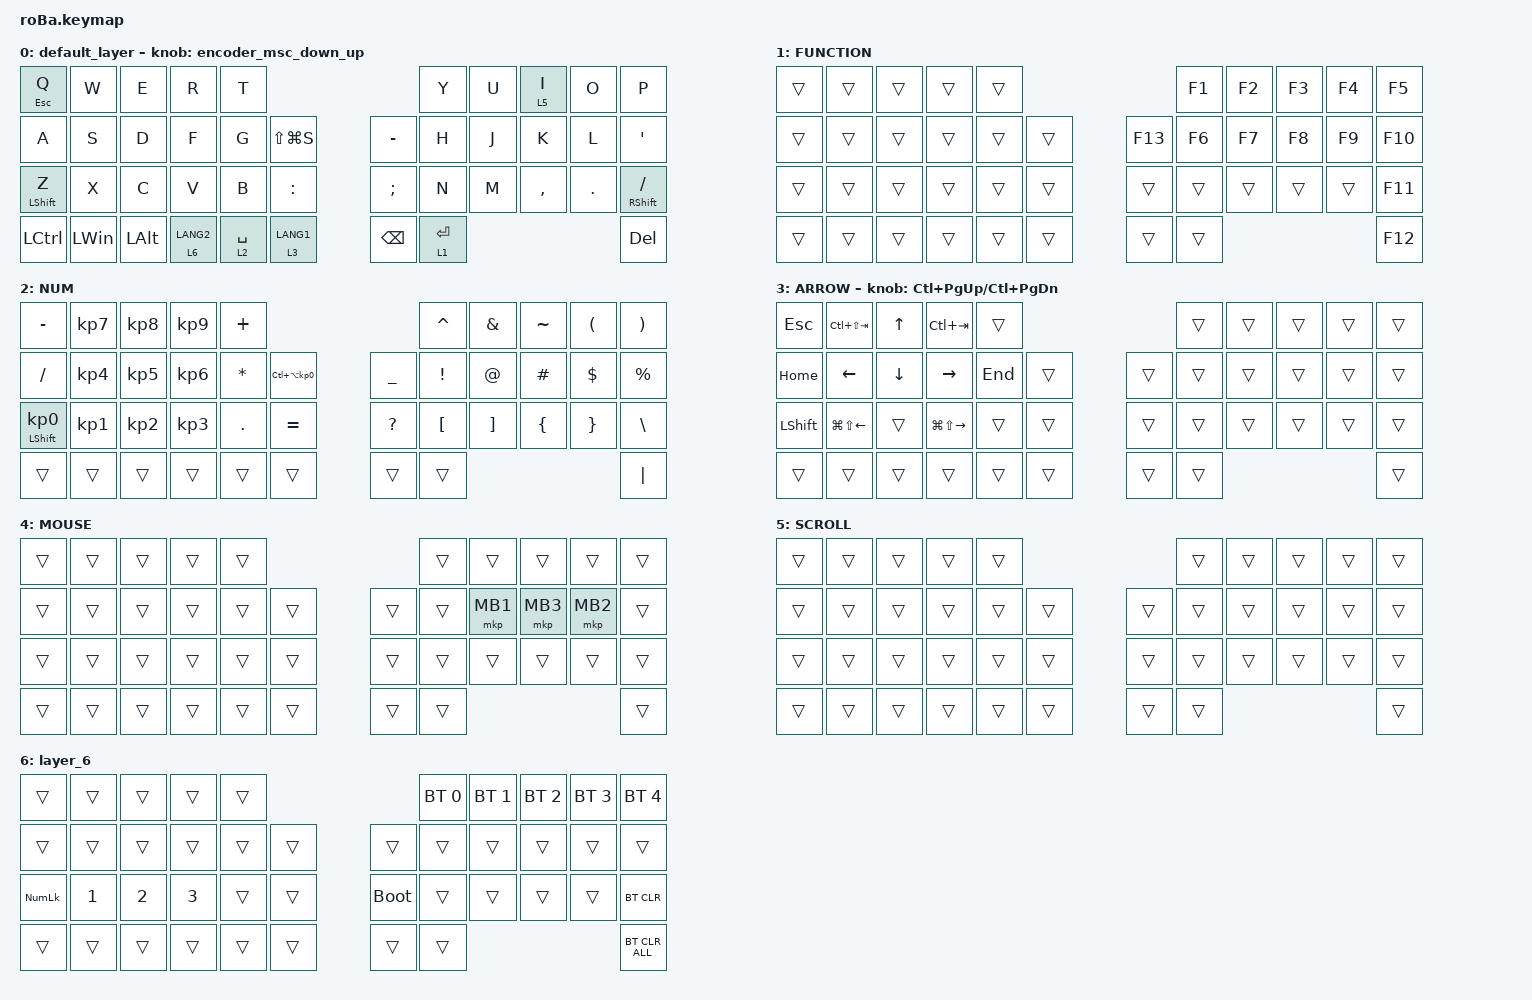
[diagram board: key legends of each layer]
#define ZMK_POINTING_DEFAULT_SCRL_VAL 80

#include <input/processors.dtsi>
#include <input/processors/runtime-input-processor.dtsi>
#include <dt-bindings/zmk/input_transform.h>
#include <behaviors.dtsi>
#include <dt-bindings/zmk/bt.h>
#include <dt-bindings/zmk/keys.h>
#include <dt-bindings/zmk/pointing.h>

&mt {
    flavor = "balanced";
    quick-tap-ms = <0>;
};

&mouse_runtime_input_processor {
    temp-layer-enabled;
    temp-layer = <4>;
    temp-layer-activation-delay-ms = <0>;
    temp-layer-deactivation-delay-ms = <700>;
};

&trackball_listener {
    input-processors = <&mouse_runtime_input_processor>;

    scroll_layer {
        layers = <5>;
        input-processors =
            <&zip_xy_to_scroll_mapper &scroll_runtime_input_processor>,
            <&zip_scroll_transform INPUT_TRANSFORM_X_INVERT>;
    };
};

/ {
    combos {
        compatible = "zmk,combos";

        tab {
            bindings = <&kp TAB>;
            key-positions = <11 12>;
        };

        shift_tab {
            bindings = <&kp LS(TAB)>;
            key-positions = <12 13>;
        };

        double_quotation {
            bindings = <&kp DOUBLE_QUOTES>;
            key-positions = <20 21>;
        };

        eq {
            bindings = <&kp EQUAL>;
            key-positions = <24 25>;
        };
    };

    macros {
        to_layer_0: to_layer_0 {
            compatible = "zmk,behavior-macro-one-param";
            #binding-cells = <1>;
            bindings = <&to 0 &macro_param_1to1 &kp MACRO_PLACEHOLDER>;
            label = "TO_LAYER_0";
        };
    };

    behaviors {
        lt_to_layer_0: lt_to_layer_0 {
            compatible = "zmk,behavior-hold-tap";
            label = "LAYER_TAP_TO_0";
            bindings = <&mo>, <&to_layer_0>;

            #binding-cells = <2>;
            tapping-term-ms = <200>;
        };

        encoder_msc_down_up: encoder_msc_down_up {
            compatible = "zmk,behavior-sensor-rotate";
            #sensor-binding-cells = <0>;
            bindings = <&msc SCRL_DOWN>, <&msc SCRL_UP>;

            tap-ms = <20>;
        };
    };

    keymap {
        compatible = "zmk,keymap";

        default_layer {
            bindings = <
&mt ESCAPE Q      &kp W         &kp E         &kp R                   &kp T                                                   &kp Y        &kp U  &lt 5 I    &kp O    &kp P
&kp A             &kp S         &kp D         &kp F                   &kp G        &kp LS(LG(S))               &kp MINUS      &kp H        &kp J  &kp K      &kp L    &kp SQT
&mt LEFT_SHIFT Z  &kp X         &kp C         &kp V                   &kp B        &kp COLON                   &kp SEMICOLON  &kp N        &kp M  &kp COMMA  &kp DOT  &mt RIGHT_SHIFT SLASH
&kp LCTRL         &kp LEFT_WIN  &kp LEFT_ALT  &lt_to_layer_0 6 LANG2  &lt 2 SPACE  &lt_to_layer_0 3 LANG1      &kp BACKSPACE  &lt 1 ENTER                             &kp DEL
            >;

            sensor-bindings = <&encoder_msc_down_up>;
        };

        FUNCTION {
            bindings = <
&trans  &trans  &trans  &trans  &trans                       &kp F1  &kp F2  &kp F3  &kp F4  &kp F5
&trans  &trans  &trans  &trans  &trans  &trans      &kp F13  &kp F6  &kp F7  &kp F8  &kp F9  &kp F10
&trans  &trans  &trans  &trans  &trans  &trans      &trans   &trans  &trans  &trans  &trans  &kp F11
&trans  &trans  &trans  &trans  &trans  &trans      &trans   &trans                          &kp F12
            >;
        };

        NUM {
            bindings = <
&kp MINUS                   &kp KP_NUMBER_7  &kp KP_NUMBER_8  &kp KP_NUMBER_9  &kp PLUS                                                   &kp CARET         &kp AMPERSAND      &kp TILDE       &kp LEFT_PARENTHESIS  &kp RIGHT_PARENTHESIS
&kp SLASH                   &kp KP_NUMBER_4  &kp KP_NUMBER_5  &kp KP_NUMBER_6  &kp ASTERISK  &kp LC(LA(KP_NUMBER_0))      &kp UNDERSCORE  &kp EXCLAMATION   &kp AT_SIGN        &kp HASH        &kp DOLLAR            &kp PERCENT
&mt LEFT_SHIFT KP_NUMBER_0  &kp KP_NUMBER_1  &kp KP_NUMBER_2  &kp KP_NUMBER_3  &kp PERIOD    &kp EQUAL                    &kp QUESTION    &kp LEFT_BRACKET  &kp RIGHT_BRACKET  &kp LEFT_BRACE  &kp RIGHT_BRACE       &kp BACKSLASH
&trans                      &trans           &trans           &trans           &trans        &trans                       &trans          &trans                                                                     &kp PIPE
            >;
        };

        ARROW {
            bindings = <
&kp ESCAPE      &kp LC(LS(TAB))         &kp UP_ARROW    &kp LC(TAB)              &trans                       &trans  &trans  &trans  &trans  &trans
&kp HOME        &kp LEFT_ARROW          &kp DOWN_ARROW  &kp RIGHT_ARROW          &kp END  &trans      &trans  &trans  &trans  &trans  &trans  &trans
&kp LEFT_SHIFT  &kp LG(LS(LEFT_ARROW))  &trans          &kp LG(LS(RIGHT_ARROW))  &trans   &trans      &trans  &trans  &trans  &trans  &trans  &trans
&trans          &trans                  &trans          &trans                   &trans   &trans      &trans  &trans                          &trans
            >;

            sensor-bindings = <&inc_dec_kp LC(PAGE_UP) LC(PAGE_DOWN)>;
        };

        MOUSE {
            bindings = <
&trans  &trans  &trans  &trans  &trans                      &trans  &trans    &trans    &trans    &trans
&trans  &trans  &trans  &trans  &trans  &trans      &trans  &trans  &mkp MB1  &mkp MB3  &mkp MB2  &trans
&trans  &trans  &trans  &trans  &trans  &trans      &trans  &trans  &trans    &trans    &trans    &trans
&trans  &trans  &trans  &trans  &trans  &trans      &trans  &trans                                &trans
            >;
        };

        SCROLL {
            bindings = <
&trans  &trans  &trans  &trans  &trans                      &trans  &trans  &trans  &trans  &trans
&trans  &trans  &trans  &trans  &trans  &trans      &trans  &trans  &trans  &trans  &trans  &trans
&trans  &trans  &trans  &trans  &trans  &trans      &trans  &trans  &trans  &trans  &trans  &trans
&trans  &trans  &trans  &trans  &trans  &trans      &trans  &trans                          &trans
            >;
        };

        layer_6 {
            bindings = <
&trans      &trans        &trans        &trans        &trans                           &bt BT_SEL 0  &bt BT_SEL 1  &bt BT_SEL 2  &bt BT_SEL 3  &bt BT_SEL 4
&trans      &trans        &trans        &trans        &trans  &trans      &trans       &trans        &trans        &trans        &trans        &trans
&kp KP_NUM  &kp NUMBER_1  &kp NUMBER_2  &kp NUMBER_3  &trans  &trans      &bootloader  &trans        &trans        &trans        &trans        &bt BT_CLR
&trans      &trans        &trans        &trans        &trans  &trans      &trans       &trans                                                  &bt BT_CLR_ALL
            >;
        };
    };
};
